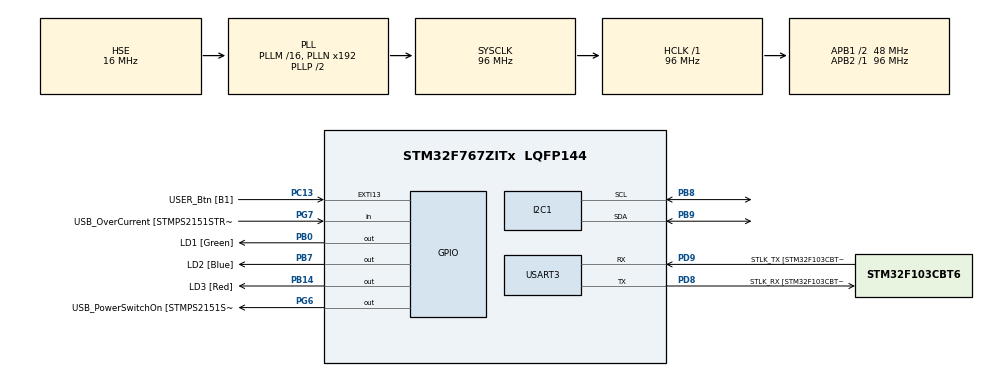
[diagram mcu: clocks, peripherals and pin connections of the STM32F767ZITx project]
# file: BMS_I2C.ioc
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I2C1.Timing=0x20303E5D
Mcu.Family=STM32F7
Mcu.Name=STM32F767ZITx
Mcu.Package=LQFP144
NVIC.PriorityGroup=NVIC_PRIORITYGROUP_4
NVIC.USART3_IRQn=true\:0\:0\:false\:false\:true\:true\:true\:true
PA1.GPIO_Label=RMII_REF_CLK [LAN8742A-CZ-TR_REFCLK0]
PA1.Signal=ETH_REF_CLK
PA10.GPIO_Label=USB_ID
PA10.Signal=USB_OTG_FS_ID
PA11.GPIO_Label=USB_DM
PA11.Signal=USB_OTG_FS_DM
PA12.GPIO_Label=USB_DP
PA12.Signal=USB_OTG_FS_DP
PA13.GPIO_Label=TMS
PA13.Signal=SYS_JTMS-SWDIO
PA14.GPIO_Label=TCK
PA14.Signal=SYS_JTCK-SWCLK
PA2.GPIO_Label=RMII_MDIO [LAN8742A-CZ-TR_MDIO]
PA2.Signal=ETH_MDIO
PA7.GPIO_Label=RMII_CRS_DV [LAN8742A-CZ-TR_CRS_DV]
PA7.Signal=ETH_CRS_DV
PA8.GPIO_Label=USB_SOF [TP1]
PA8.Signal=USB_OTG_FS_SOF
PA9.GPIO_Label=USB_VBUS
PA9.Signal=USB_OTG_FS_VBUS
PB0.GPIO_Label=LD1 [Green]
PB0.Signal=GPIO_Output
PB13.GPIO_Label=RMII_TXD1 [LAN8742A-CZ-TR_TXD1]
PB13.Signal=ETH_TXD1
PB14.GPIO_Label=LD3 [Red]
PB14.Signal=GPIO_Output
PB3.GPIO_Label=SW0
PB3.Signal=SYS_JTDO-SWO
PB7.GPIO_Label=LD2 [Blue]
PB7.Signal=GPIO_Output
PB8.GPIO_Pu=GPIO_PULLUP
PB8.Mode=I2C
PB8.Signal=I2C1_SCL
PB9.GPIO_Pu=GPIO_PULLUP
PB9.Mode=I2C
PB9.Signal=I2C1_SDA
PC1.GPIO_Label=RMII_MDC [LAN8742A-CZ-TR_MDC]
PC1.Signal=ETH_MDC
PC13.GPIO_Label=USER_Btn [B1]
PC13.Signal=GPXTI13
PC14/OSC32_IN.Signal=RCC_OSC32_IN
PC15/OSC32_OUT.Signal=RCC_OSC32_OUT
PC4.GPIO_Label=RMII_RXD0 [LAN8742A-CZ-TR_RXD0]
PC4.Signal=ETH_RXD0
PC5.GPIO_Label=RMII_RXD1 [LAN8742A-CZ-TR_RXD1]
PC5.Signal=ETH_RXD1
PD8.GPIO_Label=STLK_RX [STM32F103CBT6_PA3]
PD8.Mode=Asynchronous
PD8.Signal=USART3_TX
PD9.GPIO_Label=STLK_TX [STM32F103CBT6_PA2]
PD9.Mode=Asynchronous
PD9.Signal=USART3_RX
PG11.GPIO_Label=RMII_TX_EN [LAN8742A-CZ-TR_TXEN]
PG11.Signal=ETH_TX_EN
PG13.GPIO_Label=RMII_TXD0 [LAN8742A-CZ-TR_TXD0]
PG13.Signal=ETH_TXD0
PG6.GPIO_Label=USB_PowerSwitchOn [STMPS2151STR_EN]
PG6.Signal=GPIO_Output
PG7.GPIO_Label=USB_OverCurrent [STMPS2151STR_FAULT]
PG7.Signal=GPIO_Input
PH0/OSC_IN.GPIO_Label=MCO [STM32F103CBT6_PA8]
PH0/OSC_IN.Mode=HSE-External-Oscillator
PH0/OSC_IN.Signal=RCC_OSC_IN
PH1/OSC_OUT.Mode=HSE-External-Oscillator
PH1/OSC_OUT.Signal=RCC_OSC_OUT
ProjectManager.HeapSize=0x200
ProjectManager.StackSize=0x400
ProjectManager.TargetToolchain=STM32CubeIDE
RCC.48MHZClocksFreq_Value=24000000
RCC.AHBFreq_Value=96000000
RCC.APB1CLKDivider=RCC_HCLK_DIV2
RCC.APB1Freq_Value=48000000
RCC.APB1TimFreq_Value=96000000
RCC.APB2Freq_Value=96000000
RCC.APB2TimFreq_Value=96000000
RCC.CortexFreq_Value=96000000
RCC.HCLKFreq_Value=96000000
RCC.HSE_VALUE=16000000
RCC.HSI_VALUE=16000000
RCC.LSE_VALUE=32768
RCC.PLLMUL=RCC_PLL_MUL9
RCC.PLLSourceVirtual=RCC_PLLSOURCE_HSE
RCC.PRESCALERUSB=RCC_USBCLKSOURCE_PLL_DIV1_5
RCC.SYSCLKFreq_VALUE=96000000
RCC.SYSCLKSource=RCC_SYSCLKSOURCE_PLLCLK
RCC.SYSCLKSourceVirtual=RCC_SYSCLKSOURCE_PLLCLK
RCC.USBFreq_Value=96000000
RCC.VCOOutputFreq_Value=192000000
USART3.VirtualMode-Asynchronous=VM_ASYNC
board=NUCLEO-F767ZI

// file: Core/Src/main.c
/* USER CODE BEGIN Header */
/**
  ******************************************************************************
  * @file           : main.c
  * @brief          : Main program body
  ******************************************************************************
  * @attention
  *
  * Copyright (c) 2025 STMicroelectronics.
  * All rights reserved.
  *
  * This software is licensed under terms that can be found in the LICENSE file
  * in the root directory of this software component.
  * If no LICENSE file comes with this software, it is provided AS-IS.
  *
  ******************************************************************************
  */
/* USER CODE END Header */
#include "main.h"

I2C_HandleTypeDef hi2c1;

UART_HandleTypeDef huart3;

/* USER CODE BEGIN PV */
uint8_t address = (0x48<<1);				// Constant address 0x48
uint8_t adc_data[8] = {0};					// At least 2 bytes required to hold 12 data bits from ADC
uint8_t reg_cmd[4] = {0x00, 0x01, 0x02, 0x03};
// 0x00 -> conversion register
// 0x01 -> configuration register

uint8_t config_reg[8] = {0xC5, 0x83, 0xD5, 0x83, 0xE5, 0x83, 0xF5, 0x83};	// see config register in datasheet for more details
char Tx_output[128] = {0};		// display electronics current, jetson current, and temperature to console

uint16_t electronics_current = 0;
uint16_t jetson_current = 0;
uint16_t temperature = 0;

/* USER CODE END PV */

void SystemClock_Config(void);
static void MX_GPIO_Init(void);
static void MX_I2C1_Init(void);
static void MX_USART3_UART_Init(void);

int main(void)
{

  /* MCU Configuration--------------------------------------------------------*/

  /* Reset of all peripherals, Initializes the Flash interface and the Systick. */
  HAL_Init();

  /* Configure the system clock */
  SystemClock_Config();

  /* Initialize all configured peripherals */
  MX_GPIO_Init();
  MX_I2C1_Init();
  MX_USART3_UART_Init();

  /* Infinite loop */
  while (1)
  {

    /* USER CODE BEGIN 3 */
	  // I DON'T KNOW IF THIS CODE WORKS, BUT I'M MORE CONFIDENT IN IT THAN THE CODE BELOW THIS BLOCK
	 HAL_I2C_Master_Transmit(&hi2c1, address, (uint8_t*)(reg_cmd+1), 1, 50); // selects config register to modify
	 HAL_I2C_Master_Transmit(&hi2c1, address, (uint8_t*)config_reg, 2, 50);  // sets up single-ended input from conversion register to read ADC CH 0
	 HAL_I2C_Master_Transmit(&hi2c1, address, (uint8_t*)reg_cmd, 1, 50);	 // selects conversion register to modify
	 HAL_I2C_Master_Receive(&hi2c1, address, (uint8_t*)adc_data, 2, 50); 	 // receives data stored in conversion register

	 electronics_current = (((((adc_data[0] << 8) | adc_data[1]) * 0.002f) - 0.5) * 5);
	 //sprintf(Tx_output, "Electronics current: %d\n\r", electronics_current);
	 HAL_Delay(500);

	 // DOESN'T WORK
	 HAL_I2C_Master_Transmit(&hi2c1, address, (uint8_t*)(config_reg+2), 2, 50); // sets up single-ended input from conversion register to read ADC CH 1
	 HAL_I2C_Master_Receive(&hi2c1, address, (uint8_t*)(adc_data+2), 2, 50); 	// receives data stored in conversion register

	 jetson_current = (((((adc_data[2] << 8) | adc_data[3]) * 0.002f) - 0.5) * 5);

	 HAL_I2C_Master_Transmit(&hi2c1, address, (uint8_t*)(config_reg+4), 2, 50); // sets up single-ended input from conversion register to read ADC CH 2
	 HAL_I2C_Master_Receive(&hi2c1, address, (uint8_t*)(adc_data+4), 2, 50); 	// receives data stored in conversion register

	 temperature = ((adc_data[4] << 8) | adc_data[5]);
	 //sprintf(Tx_output, "Jetson current: %d\n\r", jetson_current);

	 HAL_Delay(500);
  }
  /* USER CODE END 3 */
}

void SystemClock_Config(void)
{
  RCC_OscInitTypeDef RCC_OscInitStruct = {0};
  RCC_ClkInitTypeDef RCC_ClkInitStruct = {0};

  /** Configure the main internal regulator output voltage
  */
  __HAL_RCC_PWR_CLK_ENABLE();
  __HAL_PWR_VOLTAGESCALING_CONFIG(PWR_REGULATOR_VOLTAGE_SCALE3);

  /** Initializes the RCC Oscillators according to the specified parameters
  * in the RCC_OscInitTypeDef structure.
  */
  RCC_OscInitStruct.OscillatorType = RCC_OSCILLATORTYPE_HSE;
  RCC_OscInitStruct.HSEState = RCC_HSE_ON;
  RCC_OscInitStruct.PLL.PLLState = RCC_PLL_ON;
  RCC_OscInitStruct.PLL.PLLSource = RCC_PLLSOURCE_HSE;
  RCC_OscInitStruct.PLL.PLLM = 16;
  RCC_OscInitStruct.PLL.PLLN = 192;
  RCC_OscInitStruct.PLL.PLLP = RCC_PLLP_DIV2;
  RCC_OscInitStruct.PLL.PLLQ = 2;
  RCC_OscInitStruct.PLL.PLLR = 2;
  if (HAL_RCC_OscConfig(&RCC_OscInitStruct) != HAL_OK)
  {
    Error_Handler();
  }

  /** Activate the Over-Drive mode
  */
  if (HAL_PWREx_EnableOverDrive() != HAL_OK)
  {
    Error_Handler();
  }

  /** Initializes the CPU, AHB and APB buses clocks
  */
  RCC_ClkInitStruct.ClockType = RCC_CLOCKTYPE_HCLK|RCC_CLOCKTYPE_SYSCLK
                              |RCC_CLOCKTYPE_PCLK1|RCC_CLOCKTYPE_PCLK2;
  RCC_ClkInitStruct.SYSCLKSource = RCC_SYSCLKSOURCE_PLLCLK;
  RCC_ClkInitStruct.AHBCLKDivider = RCC_SYSCLK_DIV1;
  RCC_ClkInitStruct.APB1CLKDivider = RCC_HCLK_DIV2;
  RCC_ClkInitStruct.APB2CLKDivider = RCC_HCLK_DIV1;

  if (HAL_RCC_ClockConfig(&RCC_ClkInitStruct, FLASH_LATENCY_3) != HAL_OK)
  {
    Error_Handler();
  }
}

static void MX_I2C1_Init(void)
{

  hi2c1.Instance = I2C1;
  hi2c1.Init.Timing = 0x20303E5D;
  hi2c1.Init.OwnAddress1 = 0;
  hi2c1.Init.AddressingMode = I2C_ADDRESSINGMODE_7BIT;
  hi2c1.Init.DualAddressMode = I2C_DUALADDRESS_DISABLE;
  hi2c1.Init.OwnAddress2 = 0;
  hi2c1.Init.OwnAddress2Masks = I2C_OA2_NOMASK;
  hi2c1.Init.GeneralCallMode = I2C_GENERALCALL_DISABLE;
  hi2c1.Init.NoStretchMode = I2C_NOSTRETCH_DISABLE;
  if (HAL_I2C_Init(&hi2c1) != HAL_OK)
  {
    Error_Handler();
  }

  /** Configure Analogue filter
  */
  if (HAL_I2CEx_ConfigAnalogFilter(&hi2c1, I2C_ANALOGFILTER_ENABLE) != HAL_OK)
  {
    Error_Handler();
  }

  /** Configure Digital filter
  */
  if (HAL_I2CEx_ConfigDigitalFilter(&hi2c1, 0) != HAL_OK)
  {
    Error_Handler();
  }

}

static void MX_USART3_UART_Init(void)
{

  huart3.Instance = USART3;
  huart3.Init.BaudRate = 115200;
  huart3.Init.WordLength = UART_WORDLENGTH_8B;
  huart3.Init.StopBits = UART_STOPBITS_1;
  huart3.Init.Parity = UART_PARITY_NONE;
  huart3.Init.Mode = UART_MODE_TX_RX;
  huart3.Init.HwFlowCtl = UART_HWCONTROL_NONE;
  huart3.Init.OverSampling = UART_OVERSAMPLING_16;
  huart3.Init.OneBitSampling = UART_ONE_BIT_SAMPLE_DISABLE;
  huart3.AdvancedInit.AdvFeatureInit = UART_ADVFEATURE_NO_INIT;
  if (HAL_UART_Init(&huart3) != HAL_OK)
  {
    Error_Handler();
  }

}

static void MX_GPIO_Init(void)
{
  GPIO_InitTypeDef GPIO_InitStruct = {0};

  /* GPIO Ports Clock Enable */
  __HAL_RCC_GPIOC_CLK_ENABLE();
  __HAL_RCC_GPIOH_CLK_ENABLE();
  __HAL_RCC_GPIOA_CLK_ENABLE();
  __HAL_RCC_GPIOB_CLK_ENABLE();
  __HAL_RCC_GPIOD_CLK_ENABLE();
  __HAL_RCC_GPIOG_CLK_ENABLE();

  /*Configure GPIO pin Output Level */
  HAL_GPIO_WritePin(GPIOB, LD1_Pin|LD3_Pin|LD2_Pin, GPIO_PIN_RESET);

  /*Configure GPIO pin Output Level */
  HAL_GPIO_WritePin(USB_PowerSwitchOn_GPIO_Port, USB_PowerSwitchOn_Pin, GPIO_PIN_RESET);

  /*Configure GPIO pin : USER_Btn_Pin */
  GPIO_InitStruct.Pin = USER_Btn_Pin;
  GPIO_InitStruct.Mode = GPIO_MODE_IT_RISING;
  GPIO_InitStruct.Pull = GPIO_NOPULL;
  HAL_GPIO_Init(USER_Btn_GPIO_Port, &GPIO_InitStruct);

  /*Configure GPIO pins : RMII_MDC_Pin RMII_RXD0_Pin RMII_RXD1_Pin */
  GPIO_InitStruct.Pin = RMII_MDC_Pin|RMII_RXD0_Pin|RMII_RXD1_Pin;
  GPIO_InitStruct.Mode = GPIO_MODE_AF_PP;
  GPIO_InitStruct.Pull = GPIO_NOPULL;
  GPIO_InitStruct.Speed = GPIO_SPEED_FREQ_VERY_HIGH;
  GPIO_InitStruct.Alternate = GPIO_AF11_ETH;
  HAL_GPIO_Init(GPIOC, &GPIO_InitStruct);

  /*Configure GPIO pins : RMII_REF_CLK_Pin RMII_MDIO_Pin RMII_CRS_DV_Pin */
  GPIO_InitStruct.Pin = RMII_REF_CLK_Pin|RMII_MDIO_Pin|RMII_CRS_DV_Pin;
  GPIO_InitStruct.Mode = GPIO_MODE_AF_PP;
  GPIO_InitStruct.Pull = GPIO_NOPULL;
  GPIO_InitStruct.Speed = GPIO_SPEED_FREQ_VERY_HIGH;
  GPIO_InitStruct.Alternate = GPIO_AF11_ETH;
  HAL_GPIO_Init(GPIOA, &GPIO_InitStruct);

  /*Configure GPIO pins : LD1_Pin LD3_Pin LD2_Pin */
  GPIO_InitStruct.Pin = LD1_Pin|LD3_Pin|LD2_Pin;
  GPIO_InitStruct.Mode = GPIO_MODE_OUTPUT_PP;
  GPIO_InitStruct.Pull = GPIO_NOPULL;
  GPIO_InitStruct.Speed = GPIO_SPEED_FREQ_LOW;
  HAL_GPIO_Init(GPIOB, &GPIO_InitStruct);

  /*Configure GPIO pin : RMII_TXD1_Pin */
  GPIO_InitStruct.Pin = RMII_TXD1_Pin;
  GPIO_InitStruct.Mode = GPIO_MODE_AF_PP;
  GPIO_InitStruct.Pull = GPIO_NOPULL;
  GPIO_InitStruct.Speed = GPIO_SPEED_FREQ_VERY_HIGH;
  GPIO_InitStruct.Alternate = GPIO_AF11_ETH;
  HAL_GPIO_Init(RMII_TXD1_GPIO_Port, &GPIO_InitStruct);

  /*Configure GPIO pin : USB_PowerSwitchOn_Pin */
  GPIO_InitStruct.Pin = USB_PowerSwitchOn_Pin;
  GPIO_InitStruct.Mode = GPIO_MODE_OUTPUT_PP;
  GPIO_InitStruct.Pull = GPIO_NOPULL;
  GPIO_InitStruct.Speed = GPIO_SPEED_FREQ_LOW;
  HAL_GPIO_Init(USB_PowerSwitchOn_GPIO_Port, &GPIO_InitStruct);

  /*Configure GPIO pin : USB_OverCurrent_Pin */
  GPIO_InitStruct.Pin = USB_OverCurrent_Pin;
  GPIO_InitStruct.Mode = GPIO_MODE_INPUT;
  GPIO_InitStruct.Pull = GPIO_NOPULL;
  HAL_GPIO_Init(USB_OverCurrent_GPIO_Port, &GPIO_InitStruct);

  /*Configure GPIO pins : USB_SOF_Pin USB_ID_Pin USB_DM_Pin USB_DP_Pin */
  GPIO_InitStruct.Pin = USB_SOF_Pin|USB_ID_Pin|USB_DM_Pin|USB_DP_Pin;
  GPIO_InitStruct.Mode = GPIO_MODE_AF_PP;
  GPIO_InitStruct.Pull = GPIO_NOPULL;
  GPIO_InitStruct.Speed = GPIO_SPEED_FREQ_VERY_HIGH;
  GPIO_InitStruct.Alternate = GPIO_AF10_OTG_FS;
  HAL_GPIO_Init(GPIOA, &GPIO_InitStruct);

  /*Configure GPIO pin : USB_VBUS_Pin */
  GPIO_InitStruct.Pin = USB_VBUS_Pin;
  GPIO_InitStruct.Mode = GPIO_MODE_INPUT;
  GPIO_InitStruct.Pull = GPIO_NOPULL;
  HAL_GPIO_Init(USB_VBUS_GPIO_Port, &GPIO_InitStruct);

  /*Configure GPIO pins : RMII_TX_EN_Pin RMII_TXD0_Pin */
  GPIO_InitStruct.Pin = RMII_TX_EN_Pin|RMII_TXD0_Pin;
  GPIO_InitStruct.Mode = GPIO_MODE_AF_PP;
  GPIO_InitStruct.Pull = GPIO_NOPULL;
  GPIO_InitStruct.Speed = GPIO_SPEED_FREQ_VERY_HIGH;
  GPIO_InitStruct.Alternate = GPIO_AF11_ETH;
  HAL_GPIO_Init(GPIOG, &GPIO_InitStruct);

}

void Error_Handler(void)
{
  __disable_irq();
  while (1)
  {
  }
}
